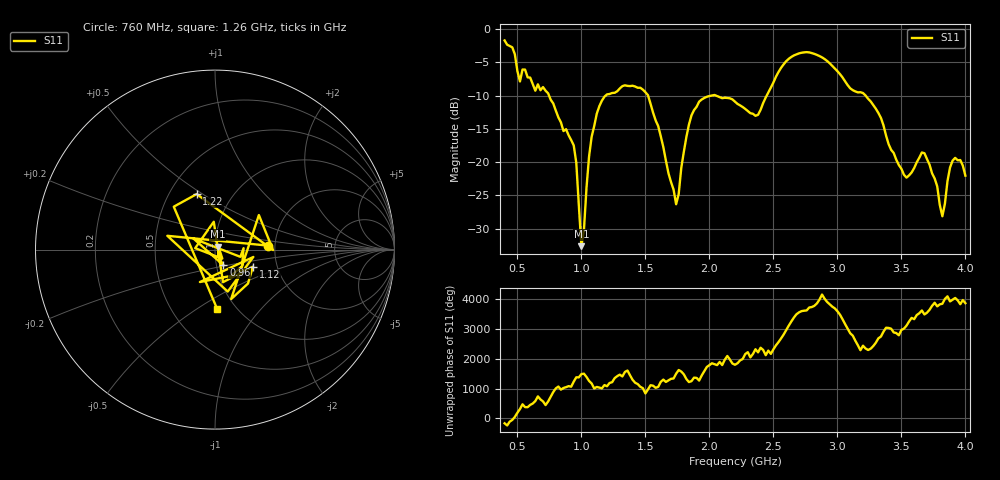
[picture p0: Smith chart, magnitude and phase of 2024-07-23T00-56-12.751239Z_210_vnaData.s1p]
!Created with skrf (http://scikit-rf.org).
# Hz S RI R 50.0
!freq ReS11 ImS11
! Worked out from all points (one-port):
!   181 points, 400 MHz to 4 GHz, reference 50 ohm
!   lowest |S11| = -32.6 dB at 1 GHz (marker M1), VSWR 1.05, Z = 51.6 + j1.77 ohm
!   |S11| at or under -10 dB: 747.5 MHz to 1.188 GHz (440.7 MHz wide, 45.5 % of centre); 1.521 GHz to 2.014 GHz (492.4 MHz wide, 27.9 % of centre); 3.221 GHz to end of sweep (the widest 3 of 4)
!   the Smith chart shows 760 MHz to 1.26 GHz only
!   S11 on the Smith chart (normalised r, x): 760 MHz: 1.83, +0.09; 960 MHz: 1.08, -0.19; 1.12 GHz: 1.50, -0.30; 1.22 GHz: 0.68, +0.47; 1.26 GHz: 0.82, -0.61
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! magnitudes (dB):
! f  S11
! 400 MHz  -1.7
! 520 MHz  -7.9
! 560 MHz  -6.1
! 760 MHz  -10.6
! 860 MHz  -15.3
! 960 MHz  -20.1
! 1 GHz  -32.6
! 1.06 GHz  -19.1
! 1.12 GHz  -12.7
! 1.22 GHz  -9.7
! 1.26 GHz  -9.6
! 1.3 GHz  -8.9
! 1.52 GHz  -9.9
! 1.74 GHz  -26.3
! 1.76 GHz  -24.8
! 1.84 GHz  -14.3
! 1.92 GHz  -10.9
! 2.2 GHz  -10.9
! 2.38 GHz  -12.9
! 2.66 GHz  -3.9
! 2.88 GHz  -4.2
! 3.1 GHz  -8.9
! 3.3 GHz  -11.9
! 3.56 GHz  -22.0
! 3.68 GHz  -18.6
! 3.82 GHz  -28.1
! 3.9 GHz  -19.8
! 4 GHz  -22.0
